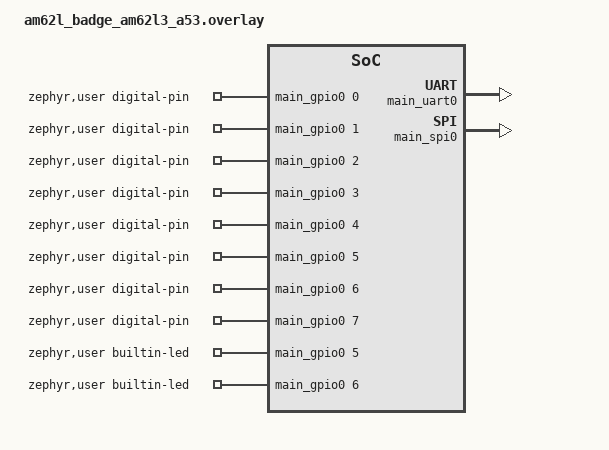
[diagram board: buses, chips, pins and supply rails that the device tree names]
/*
 * Copyright (c) 2025 Ayush Singh <ayush@beagleboard.org>
 *
 * SPDX-License-Identifier: Apache-2.0
 */

#include <zephyr/dt-bindings/gpio/gpio.h>
#include <zephyr/dt-bindings/pinctrl/ti-k3-pinctrl.h>

/ {
	zephyr,user {
		digital-pin-gpios =
			<&main_gpio0 0 GPIO_ACTIVE_HIGH>,  /* D0 - UART0 RX */
			<&main_gpio0 1 GPIO_ACTIVE_HIGH>,  /* D1 - UART0 TX */
			<&main_gpio0 2 GPIO_ACTIVE_HIGH>,  /* D2 */
			<&main_gpio0 3 GPIO_ACTIVE_HIGH>,  /* D3 */
			<&main_gpio0 4 GPIO_ACTIVE_HIGH>,  /* D4 */
			<&main_gpio0 5 GPIO_ACTIVE_HIGH>,  /* D5 - LED1 */
			<&main_gpio0 6 GPIO_ACTIVE_HIGH>,  /* D6 - LED2 */
			<&main_gpio0 7 GPIO_ACTIVE_HIGH>,  /* D7 */
			<&main_gpio0 8 GPIO_ACTIVE_HIGH>,  /* D8 */
			<&main_gpio0 9 GPIO_ACTIVE_HIGH>,  /* D9 */
			<&main_gpio0 87 GPIO_ACTIVE_HIGH>, /* D10 - SPI CS */
			<&main_gpio0 91 GPIO_ACTIVE_HIGH>, /* D11 - SPI MOSI */
			<&main_gpio0 89 GPIO_ACTIVE_HIGH>, /* D12 - SPI MISO */
			<&main_gpio0 90 GPIO_ACTIVE_HIGH>; /* D13 - SPI CLK */

		builtin-led-gpios =
			<&main_gpio0 5 GPIO_ACTIVE_HIGH>,  /* LED1 */
			<&main_gpio0 6 GPIO_ACTIVE_HIGH>;  /* LED2 */

		serials = <&main_uart0>;
	};
};

&wkup_pinctrl {
	status = "okay";

	spi0_clk_default: spi0_clk_default {
		pinmux = <K3_PINMUX(0x01a8, PIN_OUTPUT, MUX_MODE_0)>; /* (E13) SPI0_CLK */
	};

	spi0_d0_default: spi0_d0_default {
		pinmux = <K3_PINMUX(0x01b0, PIN_OUTPUT, MUX_MODE_0)>; /* (B12) SPI0_D1 */
	};

	spi0_d1_default: spi0_d1_default {
		pinmux = <K3_PINMUX(0x01ac, PIN_INPUT, MUX_MODE_0)>; /* (E12) SPI0_D0 */
	};

	spi0_cs0_default: spi0_cs0_default {
		pinmux = <K3_PINMUX(0x01a0, PIN_OUTPUT, MUX_MODE_0)>; /* (E11) SPI0_CS0 */
	};

	gpio0_0_user_default: gpio0_0_user_default {
		pinmux = <K3_PINMUX(0x0000, PIN_OUTPUT, MUX_MODE_7)>; /* GPIO0_0 */
	};

	gpio0_1_user_default: gpio0_1_user_default {
		pinmux = <K3_PINMUX(0x0004, PIN_OUTPUT, MUX_MODE_7)>; /* GPIO0_1 */
	};
};

&main_uart0 {
	status = "okay";
	pinctrl-0 = <&uart0_rx_default>, <&uart0_tx_default>;
	pinctrl-names = "default";
};

&main_gpio0_0 {
	pinctrl-0 = <&dc_pins_default>, <&res_pins_default>,
		    <&busy_pins_default>, <&clk_pins_default>,
		    <&cs0_pins_default>, <&mosi_pins_default>,
		    <&btn_select_pins_default>, <&btn_left_pins_default>,
		    <&buzzer_pins_default>, <&gpio0_0_user_default>;
	pinctrl-names = "default";
	status = "okay";
};

&main_gpio0_1 {
	pinctrl-0 = <&btn_down_pins_default>, <&btn_up_pins_default>,
		    <&gpio0_1_user_default>;
	pinctrl-names = "default";
	status = "okay";
};

&main_spi0 {
	status = "okay";
	pinctrl-0 = <&spi0_clk_default>, <&spi0_d0_default>,
		    <&spi0_d1_default>, <&spi0_cs0_default>;
	pinctrl-names = "default";
};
